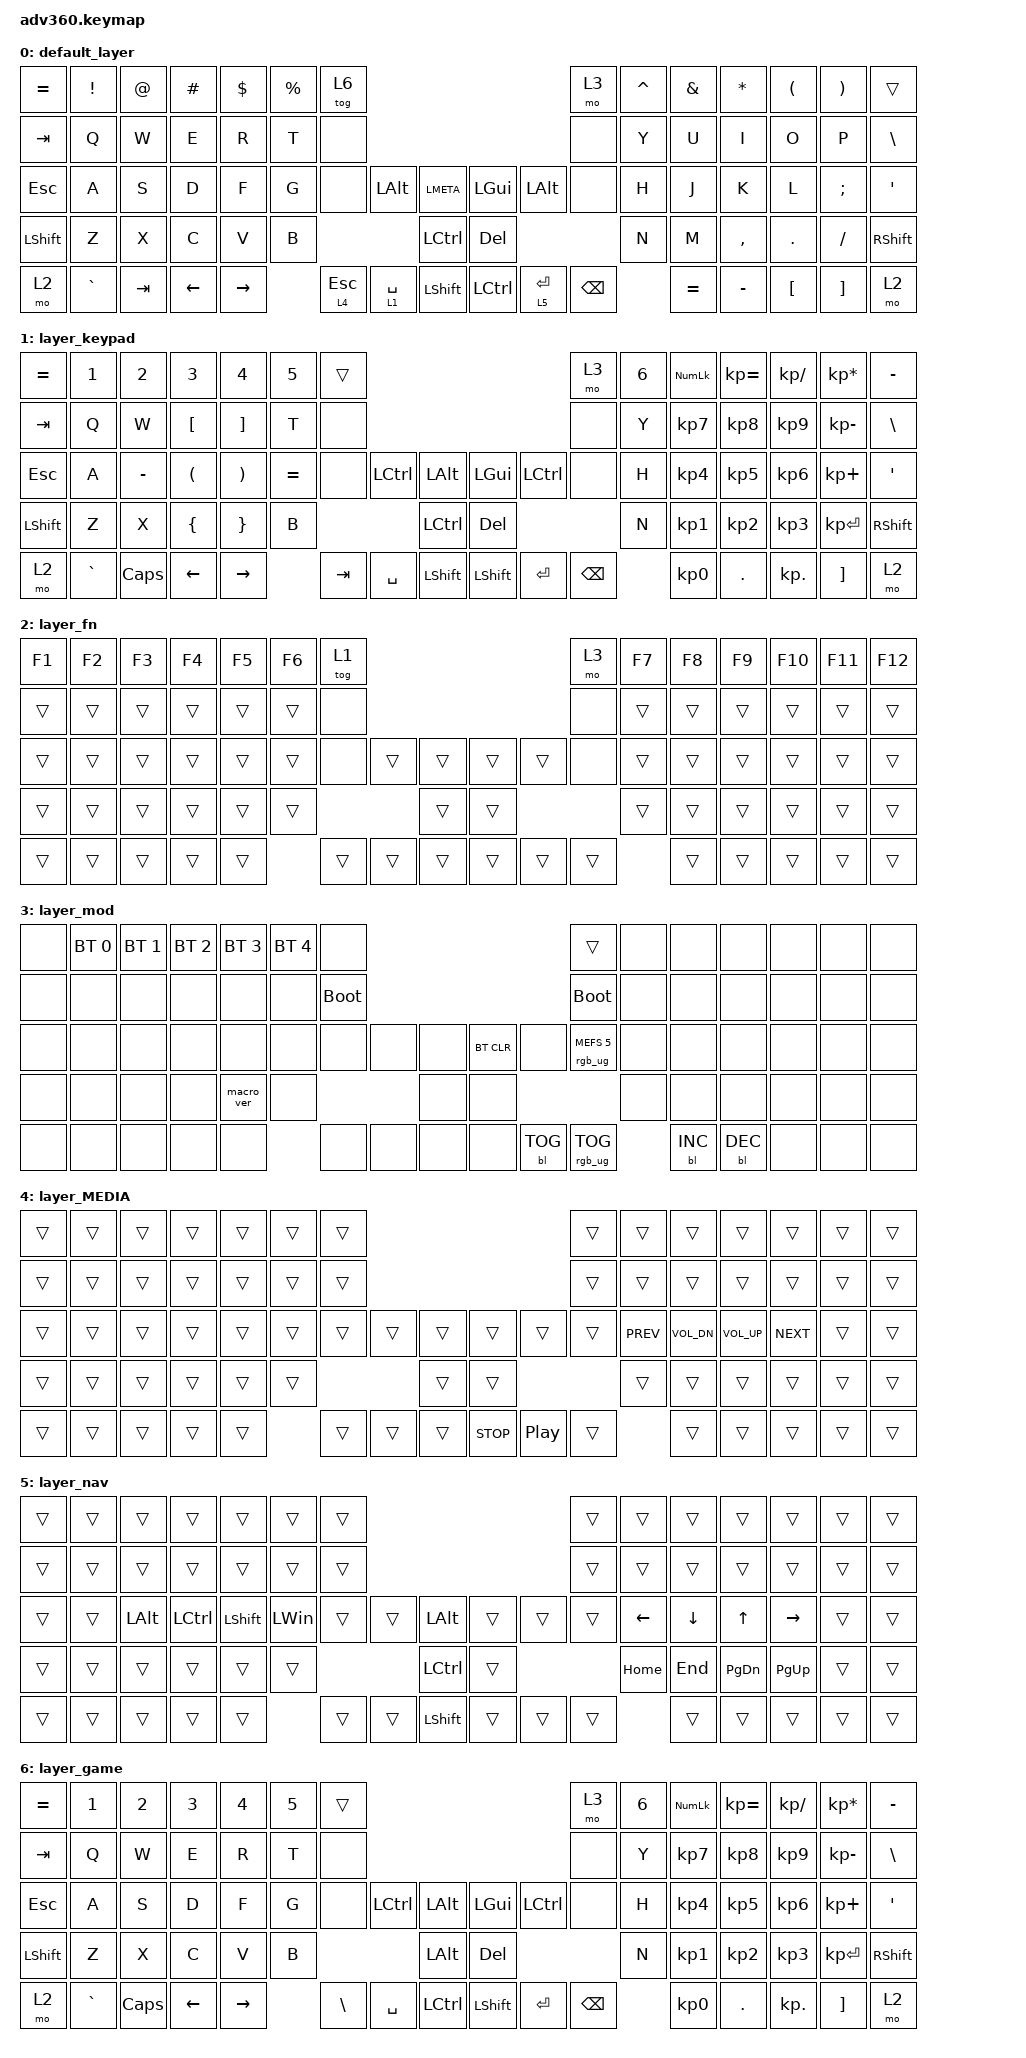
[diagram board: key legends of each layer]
/*
 * Copyright (c) 2020 The ZMK Contributors
 *
 * SPDX-License-Identifier: MIT
 */
/* THIS FILE WAS GENERATED!
 *
 * This file was generated automatically. You may or may not want to
 * edit it directly.
 */

#include <behaviors.dtsi>
#include <dt-bindings/zmk/backlight.h>
#include <dt-bindings/zmk/bt.h>
#include <dt-bindings/zmk/keys.h>
#include <dt-bindings/zmk/rgb.h>

/ {
    behaviors {
        #include "macros.dtsi"
    #include "version.dtsi"

        hm: homerow_mods {
            compatible = "zmk,behavior-hold-tap";
            label = "HOMEROW_MODS";
            #binding-cells = <2>;
            tapping-term-ms = <200>;
            quick_tap_ms = <175>;
            flavor = "tap-preferred";
            bindings = <&kp>, <&kp>;
        };
    };

    combos {
        compatible = "zmk,combos";

        shift {
            bindings = <&kp LSHFT>;
            key-positions = <32 31>;
        };

        lctrl {
            bindings = <&kp LCTRL>;
            key-positions = <32 30>;
        };

        lalt {
            bindings = <&kp LEFT_ALT>;
            key-positions = <32 29>;
        };

        lsuper {
            bindings = <&kp LEFT_META>;
            key-positions = <31 30>;
        };

        rshift {
            bindings = <&kp RSHIFT>;
            key-positions = <41 42>;
        };

        rctrl {
            bindings = <&kp RCTRL>;
            key-positions = <41 43>;
        };

        ralt {
            bindings = <&kp LEFT_ALT>;
            key-positions = <41 44>;
        };

        rsuper {
            bindings = <&kp RIGHT_META>;
            key-positions = <43 42>;
        };
    };

    keymap {
        compatible = "zmk,keymap";

        default_layer {
            bindings = <
&kp EQUAL  &kp EXCL   &kp AT   &kp HASH  &kp DOLLAR  &kp PRCNT  &tog 6                                                               &mo 3          &kp CARET  &kp AMPS   &kp STAR   &kp LEFT_PARENTHESIS  &kp RIGHT_PARENTHESIS  &trans
&kp TAB    &kp Q      &kp W    &kp E     &kp R       &kp T      &none                                                                &none          &kp Y      &kp U      &kp I      &kp O                 &kp P                  &kp BSLH
&kp ESC    &kp A      &kp S    &kp D     &kp F       &kp G      &none      &kp LALT     &kp LMETA           &kp LGUI    &kp LALT     &none          &kp H      &kp J      &kp K      &kp L                 &kp SEMI               &kp SQT
&kp LSHFT  &kp Z      &kp X    &kp C     &kp V       &kp B                              &kp LCTRL           &kp DELETE                              &kp N      &kp M      &kp COMMA  &kp DOT               &kp FSLH               &kp RSHFT
&mo 2      &kp GRAVE  &kp TAB  &kp LEFT  &kp RIGHT              &lt 4 ESC  &lt 1 SPACE  &kp LEFT_SHIFT      &kp LCTRL   &lt 5 ENTER  &kp BACKSPACE             &kp EQUAL  &kp MINUS  &kp LEFT_BRACKET      &kp RIGHT_BRACKET      &mo 2
            >;
        };

        layer_keypad {
            bindings = <
&kp EQUAL  &kp N1     &kp N2     &kp N3                &kp N4                 &kp N5     &trans                                                         &mo 3          &kp N6  &kp KP_NUM  &kp KP_EQUAL  &kp KP_DIVIDE  &kp KP_MULTIPLY  &kp MINUS
&kp TAB    &kp Q      &kp W      &kp LEFT_BRACKET      &kp RIGHT_BRACKET      &kp T      &none                                                          &none          &kp Y   &kp KP_N7   &kp KP_N8     &kp KP_N9      &kp KP_MINUS     &kp BSLH
&kp ESC    &kp A      &kp MINUS  &kp LEFT_PARENTHESIS  &kp RIGHT_PARENTHESIS  &kp EQUAL  &none    &kp LCTRL  &kp LALT            &kp LGUI    &kp LCTRL  &none          &kp H   &kp KP_N4   &kp KP_N5     &kp KP_N6      &kp KP_PLUS      &kp SQT
&kp LSHFT  &kp Z      &kp X      &kp LEFT_BRACE        &kp RIGHT_BRACE        &kp B                          &kp LCTRL           &kp DEL                               &kp N   &kp KP_N1   &kp KP_N2     &kp KP_N3      &kp KP_ENTER     &kp RSHFT
&mo 2      &kp GRAVE  &kp CAPS   &kp LEFT              &kp RIGHT                         &kp TAB  &kp SPACE  &kp LEFT_SHIFT      &kp LSHIFT  &kp ENTER  &kp BACKSPACE          &kp KP_N0   &kp DOT       &kp KP_DOT     &kp RBKT         &mo 2
            >;
        };

        layer_fn {
            bindings = <
&kp F1  &kp F2  &kp F3  &kp F4  &kp F5  &kp F6  &tog 1                                      &mo 3   &kp F7  &kp F8  &kp F9  &kp F10  &kp F11  &kp F12
&trans  &trans  &trans  &trans  &trans  &trans  &none                                       &none   &trans  &trans  &trans  &trans   &trans   &trans
&trans  &trans  &trans  &trans  &trans  &trans  &none   &trans  &trans      &trans  &trans  &none   &trans  &trans  &trans  &trans   &trans   &trans
&trans  &trans  &trans  &trans  &trans  &trans                  &trans      &trans                  &trans  &trans  &trans  &trans   &trans   &trans
&trans  &trans  &trans  &trans  &trans          &trans  &trans  &trans      &trans  &trans  &trans          &trans  &trans  &trans   &trans   &trans
            >;
        };

        layer_mod {
            bindings = <
&none  &bt BT_SEL 0  &bt BT_SEL 1  &bt BT_SEL 2  &bt BT_SEL 3  &bt BT_SEL 4  &none                                                  &trans                  &none  &none       &none       &none  &none  &none
&none  &none         &none         &none         &none         &none         &bootloader                                            &bootloader             &none  &none       &none       &none  &none  &none
&none  &none         &none         &none         &none         &none         &none        &none  &none      &bt BT_CLR  &none       &rgb_ug RGB_MEFS_CMD 5  &none  &none       &none       &none  &none  &none
&none  &none         &none         &none         &macro_ver    &none                             &none      &none                                           &none  &none       &none       &none  &none  &none
&none  &none         &none         &none         &none                       &none        &none  &none      &none       &bl BL_TOG  &rgb_ug RGB_TOG                &bl BL_INC  &bl BL_DEC  &none  &none  &none
            >;
        };

        layer_MEDIA {
            bindings = <
&trans  &trans  &trans  &trans  &trans  &trans  &trans                                                    &trans  &trans      &trans        &trans        &trans      &trans  &trans
&trans  &trans  &trans  &trans  &trans  &trans  &trans                                                    &trans  &trans      &trans        &trans        &trans      &trans  &trans
&trans  &trans  &trans  &trans  &trans  &trans  &trans  &trans  &trans      &trans      &trans            &trans  &kp C_PREV  &kp C_VOL_DN  &kp C_VOL_UP  &kp C_NEXT  &trans  &trans
&trans  &trans  &trans  &trans  &trans  &trans                  &trans      &trans                                &trans      &trans        &trans        &trans      &trans  &trans
&trans  &trans  &trans  &trans  &trans          &trans  &trans  &trans      &kp C_STOP  &kp C_PLAY_PAUSE  &trans              &trans        &trans        &trans      &trans  &trans
            >;
        };

        layer_nav {
            bindings = <
&trans  &trans  &trans        &trans     &trans      &trans        &trans                                              &trans  &trans    &trans    &trans     &trans     &trans  &trans
&trans  &trans  &trans        &trans     &trans      &trans        &trans                                              &trans  &trans    &trans    &trans     &trans     &trans  &trans
&trans  &trans  &kp LEFT_ALT  &kp LCTRL  &kp LSHIFT  &kp LEFT_WIN  &trans  &trans  &kp LALT            &trans  &trans  &trans  &kp LEFT  &kp DOWN  &kp UP     &kp RIGHT  &trans  &trans
&trans  &trans  &trans        &trans     &trans      &trans                        &kp LCTRL           &trans                  &kp HOME  &kp END   &kp PG_DN  &kp PG_UP  &trans  &trans
&trans  &trans  &trans        &trans     &trans                    &trans  &trans  &kp LEFT_SHIFT      &trans  &trans  &trans            &trans    &trans     &trans     &trans  &trans
            >;
        };

        layer_game {
            bindings = <
&kp EQUAL  &kp N1     &kp N2    &kp N3    &kp N4     &kp N5  &trans                                                                 &mo 3          &kp N6  &kp KP_NUM  &kp KP_EQUAL  &kp KP_DIVIDE  &kp KP_MULTIPLY  &kp MINUS
&kp TAB    &kp Q      &kp W     &kp E     &kp R      &kp T   &none                                                                  &none          &kp Y   &kp KP_N7   &kp KP_N8     &kp KP_N9      &kp KP_MINUS     &kp BSLH
&kp ESC    &kp A      &kp S     &kp D     &kp F      &kp G   &none          &kp LCTRL  &kp LALT              &kp LGUI    &kp LCTRL  &none          &kp H   &kp KP_N4   &kp KP_N5     &kp KP_N6      &kp KP_PLUS      &kp SQT
&kp LSHFT  &kp Z      &kp X     &kp C     &kp V      &kp B                             &kp LALT              &kp DEL                               &kp N   &kp KP_N1   &kp KP_N2     &kp KP_N3      &kp KP_ENTER     &kp RSHFT
&mo 2      &kp GRAVE  &kp CAPS  &kp LEFT  &kp RIGHT          &kp BACKSLASH  &kp SPACE  &kp LEFT_CONTROL      &kp LSHIFT  &kp ENTER  &kp BACKSPACE          &kp KP_N0   &kp DOT       &kp KP_DOT     &kp RBKT         &mo 2
            >;
        };
    };
};
